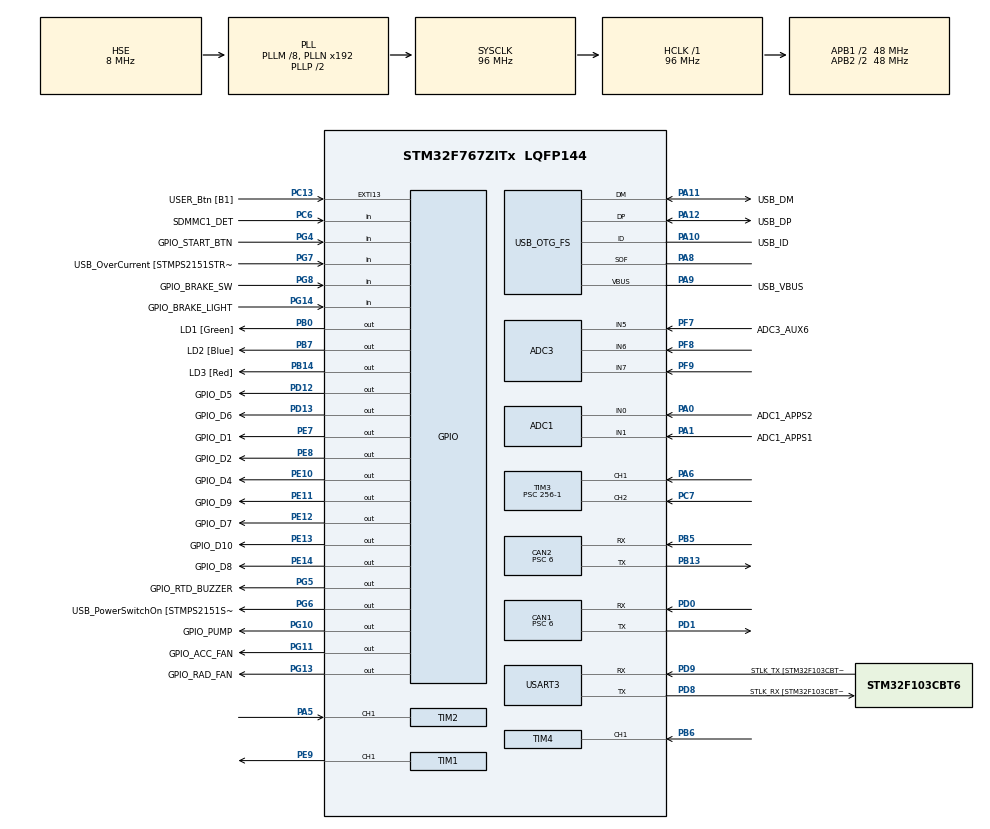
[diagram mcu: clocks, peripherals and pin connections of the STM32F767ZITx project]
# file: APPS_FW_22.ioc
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ADC1.Channel-4\#ChannelRegularConversion=ADC_CHANNEL_0
ADC1.Channel-5\#ChannelRegularConversion=ADC_CHANNEL_1
ADC1.ClockPrescaler=ADC_CLOCK_SYNC_PCLK_DIV4
ADC1.ContinuousConvMode=ENABLE
ADC1.DMAContinuousRequests=ENABLE
ADC1.DiscontinuousConvMode=DISABLE
ADC1.EOCSelection=ADC_EOC_SEQ_CONV
ADC1.EnableAnalogWatchDog=false
ADC1.ExternalTrigConv=ADC_SOFTWARE_START
ADC1.InjNumberOfConversion=0
ADC1.NbrOfConversion=2
ADC1.NbrOfConversionFlag=1
ADC1.Rank-4\#ChannelRegularConversion=1
ADC1.Rank-5\#ChannelRegularConversion=2
ADC1.SamplingTime-4\#ChannelRegularConversion=ADC_SAMPLETIME_144CYCLES
ADC1.SamplingTime-5\#ChannelRegularConversion=ADC_SAMPLETIME_144CYCLES
ADC1.ScanConvMode=ADC_SCAN_ENABLE
ADC1.master=1
ADC3.Channel-1\#ChannelRegularConversion=ADC_CHANNEL_5
ADC3.Channel-2\#ChannelRegularConversion=ADC_CHANNEL_6
ADC3.Channel-3\#ChannelRegularConversion=ADC_CHANNEL_7
ADC3.ClockPrescaler=ADC_CLOCK_SYNC_PCLK_DIV4
ADC3.ContinuousConvMode=ENABLE
ADC3.DMAContinuousRequests=ENABLE
ADC3.NbrOfConversion=3
ADC3.NbrOfConversionFlag=1
ADC3.Rank-1\#ChannelRegularConversion=1
ADC3.Rank-2\#ChannelRegularConversion=2
ADC3.Rank-3\#ChannelRegularConversion=3
ADC3.SamplingTime-1\#ChannelRegularConversion=ADC_SAMPLETIME_480CYCLES
ADC3.SamplingTime-2\#ChannelRegularConversion=ADC_SAMPLETIME_480CYCLES
ADC3.SamplingTime-3\#ChannelRegularConversion=ADC_SAMPLETIME_480CYCLES
ADC3.ScanConvMode=ADC_SCAN_ENABLE
CAN1.BS1=CAN_BS1_13TQ
CAN1.BS2=CAN_BS2_2TQ
CAN1.CalculateBaudRate=500000
CAN1.CalculateTimeBit=2000
CAN1.CalculateTimeQuantum=125.0
CAN1.Mode=CAN_MODE_NORMAL
CAN1.Prescaler=6
CAN1.SJW=CAN_SJW_1TQ
CAN2.ABOM=ENABLE
CAN2.BS1=CAN_BS1_13TQ
CAN2.BS2=CAN_BS2_2TQ
CAN2.CalculateBaudRate=500000
CAN2.CalculateTimeBit=2000
CAN2.CalculateTimeQuantum=125.0
CAN2.Mode=CAN_MODE_NORMAL
CAN2.NART=ENABLE
CAN2.Prescaler=6
Dma.ADC1.0.Direction=DMA_PERIPH_TO_MEMORY
Dma.ADC1.0.FIFOMode=DMA_FIFOMODE_DISABLE
Dma.ADC1.0.Instance=DMA2_Stream4
Dma.ADC1.0.MemDataAlignment=DMA_MDATAALIGN_HALFWORD
Dma.ADC1.0.MemInc=DMA_MINC_ENABLE
Dma.ADC1.0.Mode=DMA_CIRCULAR
Dma.ADC1.0.PeriphDataAlignment=DMA_PDATAALIGN_HALFWORD
Dma.ADC1.0.PeriphInc=DMA_PINC_DISABLE
Dma.ADC1.0.Priority=DMA_PRIORITY_LOW
Dma.ADC3.1.Direction=DMA_PERIPH_TO_MEMORY
Dma.ADC3.1.FIFOMode=DMA_FIFOMODE_DISABLE
Dma.ADC3.1.Instance=DMA2_Stream0
Dma.ADC3.1.MemDataAlignment=DMA_MDATAALIGN_HALFWORD
Dma.ADC3.1.MemInc=DMA_MINC_ENABLE
Dma.ADC3.1.Mode=DMA_CIRCULAR
Dma.ADC3.1.PeriphDataAlignment=DMA_PDATAALIGN_HALFWORD
Dma.ADC3.1.PeriphInc=DMA_PINC_DISABLE
Dma.ADC3.1.Priority=DMA_PRIORITY_LOW
Dma.Request0=ADC1
Dma.Request1=ADC3
FREERTOS.BinarySemaphores01=printSem,Static,printSemControlBlock
FREERTOS.Queues01=CANTX_Q,32,CANTXMsg,0,Static,CANTX_QBuffer,CANTX_QControlBlock;CANRX_Q,32,CANRXMsg,0,Static,CANRX_QBuffer,CANRX_QControlBlock
FREERTOS.Tasks01=defaultTask,24,128,StartDefaultTask,Default,NULL,Dynamic,NULL,NULL;CANTxTask,40,128,startCANTxTask,As external,NULL,Dynamic,NULL,NULL;APPSTask,41,256,startAPPSTask,As external,NULL,Dynamic,NULL,NULL;CANRxTask,40,128,startCANRxTask,As external,NULL,Dynamic,NULL,NULL;ControlTask,8,128,startControlTask,As external,NULL,Dynamic,NULL,NULL;CANTransmit,48,128,startCANTransmitTask,As external,NULL,Dynamic,NULL,NULL
FREERTOS.configENABLE_BACKWARD_COMPATIBILITY=0
FREERTOS.configENABLE_FPU=1
FREERTOS.configUSE_NEWLIB_REENTRANT=1
Mcu.Family=STM32F7
Mcu.Name=STM32F767ZITx
Mcu.Package=LQFP144
NVIC.CAN1_RX0_IRQn=true\:5\:0\:false\:false\:true\:true\:true\:true\:true
NVIC.CAN2_RX0_IRQn=true\:5\:0\:false\:false\:true\:true\:true\:true\:true
NVIC.DMA2_Stream0_IRQn=true\:5\:0\:false\:false\:true\:true\:false\:true\:true
NVIC.DMA2_Stream4_IRQn=true\:5\:0\:false\:false\:true\:false\:false\:true\:true
NVIC.PriorityGroup=NVIC_PRIORITYGROUP_4
NVIC.TIM2_IRQn=true\:5\:0\:false\:false\:true\:true\:true\:true\:true
NVIC.TIM3_IRQn=true\:5\:0\:false\:false\:true\:true\:true\:true\:true
NVIC.TIM4_IRQn=true\:5\:0\:false\:false\:true\:true\:true\:true\:true
NVIC.TIM8_UP_TIM13_IRQn=true\:15\:0\:false\:false\:true\:false\:false\:true\:true
NVIC.TimeBase=TIM8_UP_TIM13_IRQn
NVIC.TimeBaseIP=TIM8
PA0/WKUP.GPIO_Label=ADC1_APPS2
PA0/WKUP.Signal=ADCx_IN0
PA1.GPIO_Label=ADC1_APPS1
PA1.Signal=ADCx_IN1
PA10.GPIO_Label=USB_ID
PA10.Mode=OTG/Dual_Role_Device
PA10.Signal=USB_OTG_FS_ID
PA11.GPIO_Label=USB_DM
PA11.Mode=OTG/Dual_Role_Device
PA11.Signal=USB_OTG_FS_DM
PA12.GPIO_Label=USB_DP
PA12.Mode=OTG/Dual_Role_Device
PA12.Signal=USB_OTG_FS_DP
PA13.GPIO_Label=TMS
PA13.Mode=Serial_Wire
PA13.Signal=SYS_JTMS-SWDIO
PA14.GPIO_Label=TCK
PA14.Mode=Serial_Wire
PA14.Signal=SYS_JTCK-SWCLK
PA3.Signal=ADCx_IN3
PA5.Signal=S_TIM2_CH1_ETR
PA6.Signal=S_TIM3_CH1
PA8.Mode=Activate_SOF_FS
PA8.Signal=USB_OTG_FS_SOF
PA9.GPIO_Label=USB_VBUS
PA9.Mode=Activate_VBUS
PA9.Signal=USB_OTG_FS_VBUS
PB0.GPIO_Label=LD1 [Green]
PB0.Signal=GPIO_Output
PB13.Mode=CAN_Activate
PB13.Signal=CAN2_TX
PB14.GPIO_Label=LD3 [Red]
PB14.Signal=GPIO_Output
PB3.GPIO_Label=SWO
PB3.Signal=SYS_JTDO-SWO
PB5.GPIO_PuPd=GPIO_PULLUP
PB5.Mode=CAN_Activate
PB5.Signal=CAN2_RX
PB6.Signal=S_TIM4_CH1
PB7.GPIO_Label=LD2 [Blue]
PB7.Signal=GPIO_Output
PC0.GPIO_Mode=GPIO_MODE_ANALOG
PC0.GPIO_PuPd=GPIO_NOPULL
PC0.Signal=ADCx_IN10
PC1.GPIO_Label=ADC2_DMPR2
PC1.Signal=ADCx_IN11
PC13.GPIO_Label=USER_Btn [B1]
PC13.Signal=GPXTI13
PC14/OSC32_IN.Mode=LSE-External-Oscillator
PC14/OSC32_IN.Signal=RCC_OSC32_IN
PC15/OSC32_OUT.Mode=LSE-External-Oscillator
PC15/OSC32_OUT.Signal=RCC_OSC32_OUT
PC2.GPIO_Mode=GPIO_MODE_ANALOG
PC2.GPIO_PuPd=GPIO_NOPULL
PC2.Signal=ADCx_IN12
PC3.GPIO_Mode=GPIO_MODE_ANALOG
PC3.GPIO_PuPd=GPIO_NOPULL
PC3.Signal=ADCx_IN13
PC6.GPIO_Label=SDMMC1_DET
PC6.Signal=GPIO_Input
PC7.Signal=S_TIM3_CH2
PD0.GPIO_PuPd=GPIO_PULLUP
PD0.Mode=CAN_Activate
PD0.Signal=CAN1_RX
PD1.Mode=CAN_Activate
PD1.Signal=CAN1_TX
PD12.GPIO_Label=GPIO_D5
PD12.Signal=GPIO_Output
PD13.GPIO_Label=GPIO_D6
PD13.Signal=GPIO_Output
PD8.GPIO_Label=STLK_RX [STM32F103CBT6_PA3]
PD8.Mode=Asynchronous
PD8.Signal=USART3_TX
PD9.GPIO_Label=STLK_TX [STM32F103CBT6_PA2]
PD9.Mode=Asynchronous
PD9.Signal=USART3_RX
PE10.GPIO_Label=GPIO_D4
PE10.Signal=GPIO_Output
PE11.GPIO_Label=GPIO_D9
PE11.Signal=GPIO_Output
PE12.GPIO_Label=GPIO_D7
PE12.Signal=GPIO_Output
PE13.GPIO_Label=GPIO_D10
PE13.Signal=GPIO_Output
PE14.GPIO_Label=GPIO_D8
PE14.Signal=GPIO_Output
PE7.GPIO_Label=GPIO_D1
PE7.Signal=GPIO_Output
PE8.GPIO_Label=GPIO_D2
PE8.Signal=GPIO_Output
PE9.Signal=S_TIM1_CH1
PF4.GPIO_Label=ADC3_AUX4
PF4.Signal=ADC3_IN14
PF5.GPIO_Label=ADC3_AUX4
PF5.Signal=ADC3_IN15
PF6.GPIO_Label=ADC3_AUX5
PF6.Signal=ADC3_IN4
PF7.GPIO_Label=ADC3_AUX6
PF7.Mode=IN5
PF7.Signal=ADC3_IN5
PF8.Mode=IN6
PF8.Signal=ADC3_IN6
PF9.Mode=IN7
PF9.Signal=ADC3_IN7
PG10.GPIO_Label=GPIO_PUMP
PG10.Signal=GPIO_Output
PG11.GPIO_Label=GPIO_ACC_FAN
PG11.Signal=GPIO_Output
PG13.GPIO_Label=GPIO_RAD_FAN
PG13.Signal=GPIO_Output
PG14.GPIO_Label=GPIO_BRAKE_LIGHT
PG14.Signal=GPIO_Input
PG4.GPIO_Label=GPIO_START_BTN
PG4.Signal=GPIO_Input
PG5.GPIO_Label=GPIO_RTD_BUZZER
PG5.Signal=GPIO_Output
PG6.GPIO_Label=USB_PowerSwitchOn [STMPS2151STR_EN]
PG6.Signal=GPIO_Output
PG7.GPIO_Label=USB_OverCurrent [STMPS2151STR_FAULT]
PG7.Signal=GPIO_Input
PG8.GPIO_Label=GPIO_BRAKE_SW
PG8.Signal=GPIO_Input
PH0/OSC_IN.GPIO_Label=MCO [STM32F103CBT6_PA8]
PH0/OSC_IN.Mode=HSE-External-Oscillator
PH0/OSC_IN.Signal=RCC_OSC_IN
PH1/OSC_OUT.Mode=HSE-External-Oscillator
PH1/OSC_OUT.Signal=RCC_OSC_OUT
ProjectManager.HeapSize=0x200
ProjectManager.StackSize=0x400
ProjectManager.TargetToolchain=STM32CubeIDE
RCC.48MHZClocksFreq_Value=24000000
RCC.AHBFreq_Value=96000000
RCC.APB1CLKDivider=RCC_HCLK_DIV2
RCC.APB1Freq_Value=48000000
RCC.APB1TimFreq_Value=96000000
RCC.APB2CLKDivider=RCC_HCLK_DIV2
RCC.APB2Freq_Value=48000000
RCC.APB2TimFreq_Value=96000000
RCC.CortexFreq_Value=96000000
RCC.HCLKFreq_Value=96000000
RCC.HSE_Timout=3000
RCC.HSE_VALUE=8000000
RCC.HSI_VALUE=16000000
RCC.PLLM=8
RCC.PLLMUL=RCC_PLL_MUL9
RCC.PLLQ=4
RCC.PRESCALERUSB=RCC_USBCLKSOURCE_PLL_DIV1_5
RCC.PWR_Regulator_Voltage_Scale=PWR_REGULATOR_VOLTAGE_SCALE3
RCC.RTCClockSelection=RCC_RTCCLKSOURCE_LSE
RCC.SDMMCClockSelection=RCC_SDMMC1CLKSOURCE_CLK48
RCC.SYSCLKFreq_VALUE=96000000
RCC.SYSCLKSource=RCC_SYSCLKSOURCE_PLLCLK
RCC.SYSCLKSourceVirtual=RCC_SYSCLKSOURCE_PLLCLK
RCC.USBFreq_Value=48000000
RCC.VCOOutputFreq_Value=192000000
SH.ADCx_IN0.0=ADC1_IN0,IN0
SH.ADCx_IN1.0=ADC1_IN1,IN1
SH.ADCx_IN10.0=ADC2_IN10
SH.ADCx_IN11.0=ADC2_IN11
SH.ADCx_IN12.0=ADC2_IN12
SH.ADCx_IN13.0=ADC2_IN13
SH.ADCx_IN3.0=ADC3_IN3
SH.ADCx_IN3.1=ADC2_IN3
SH.S_TIM1_CH1.0=TIM1_CH1,PWM Generation1 CH1
SH.S_TIM2_CH1_ETR.0=TIM2_CH1,Input_Capture1_from_TI1
SH.S_TIM3_CH1.0=TIM3_CH1,Input_Capture1_from_TI1
SH.S_TIM3_CH2.0=TIM3_CH2,Input_Capture2_from_TI2
SH.S_TIM4_CH1.0=TIM4_CH1,Input_Capture1_from_TI1
TIM1.Channel-PWM\ Generation1\ CH1=TIM_CHANNEL_1
TIM1.Period=4000-1
TIM1.Prescaler=240-1
TIM2.Channel-Input_Capture1_from_TI1=TIM_CHANNEL_1
TIM2.Period=14184397
TIM2.Prescaler=1-1
TIM3.Channel-Input_Capture1_from_TI1=TIM_CHANNEL_1
TIM3.Channel-Input_Capture2_from_TI2=TIM_CHANNEL_2
TIM3.ClockDivision=TIM_CLOCKDIVISION_DIV1
TIM3.Period=55408
TIM3.Prescaler=256-1
TIM4.Channel-Input_Capture1_from_TI1=TIM_CHANNEL_1
TIM4.ClockDivision=TIM_CLOCKDIVISION_DIV1
TIM4.Period=55408
TIM4.Prescaler=256-1
USART3.VirtualMode-Asynchronous=VM_ASYNC
VP_FREERTOS_VS_CMSIS_V2.Mode=CMSIS_V2
VP_RTC_VS_RTC_Activate.Mode=RTC_Enabled
VP_SYS_VS_tim8.Mode=TIM8
VP_TIM1_VS_ClockSourceINT.Mode=Internal
VP_TIM2_VS_ClockSourceINT.Mode=Internal
VP_TIM3_VS_ClockSourceINT.Mode=Internal
VP_TIM4_VS_ClockSourceINT.Mode=Internal
board=NUCLEO-F767ZI

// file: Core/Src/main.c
/* USER CODE BEGIN Header */
/**
  ******************************************************************************
  * @file           : main.c
  * @brief          : Main program body
  ******************************************************************************
  * @attention
  *
  * Copyright (c) 2022 STMicroelectronics.
  * All rights reserved.
  *
  * This software is licensed under terms that can be found in the LICENSE file
  * in the root directory of this software component.
  * If no LICENSE file comes with this software, it is provided AS-IS.
  *
  ******************************************************************************
  */
/* USER CODE END Header */
#include "main.h"
#include "cmsis_os.h"

/* USER CODE BEGIN Includes */
#include "APPS.h"
#include "CAN.h"
#include "utils.h"
/* USER CODE END Includes */

typedef StaticQueue_t osStaticMessageQDef_t;
typedef StaticSemaphore_t osStaticSemaphoreDef_t;

ADC_HandleTypeDef hadc1;
ADC_HandleTypeDef hadc3;
DMA_HandleTypeDef hdma_adc1;
DMA_HandleTypeDef hdma_adc3;

CAN_HandleTypeDef hcan1;
CAN_HandleTypeDef hcan2;

RTC_HandleTypeDef hrtc;

TIM_HandleTypeDef htim1;
TIM_HandleTypeDef htim2;
TIM_HandleTypeDef htim3;
TIM_HandleTypeDef htim4;

UART_HandleTypeDef huart3;

/* Definitions for defaultTask */
osThreadId_t defaultTaskHandle;
const osThreadAttr_t defaultTask_attributes = {
  .name = "defaultTask",
  .stack_size = 128 * 4,
  .priority = (osPriority_t) osPriorityNormal,
};
/* Definitions for CANTxTask */
osThreadId_t CANTxTaskHandle;
const osThreadAttr_t CANTxTask_attributes = {
  .name = "CANTxTask",
  .stack_size = 128 * 4,
  .priority = (osPriority_t) osPriorityHigh,
};
/* Definitions for APPSTask */
osThreadId_t APPSTaskHandle;
const osThreadAttr_t APPSTask_attributes = {
  .name = "APPSTask",
  .stack_size = 256 * 4,
  .priority = (osPriority_t) osPriorityHigh1,
};
/* Definitions for CANRxTask */
osThreadId_t CANRxTaskHandle;
const osThreadAttr_t CANRxTask_attributes = {
  .name = "CANRxTask",
  .stack_size = 128 * 4,
  .priority = (osPriority_t) osPriorityHigh,
};
/* Definitions for ControlTask */
osThreadId_t ControlTaskHandle;
const osThreadAttr_t ControlTask_attributes = {
  .name = "ControlTask",
  .stack_size = 128 * 4,
  .priority = (osPriority_t) osPriorityLow,
};
/* Definitions for CANTransmit */
osThreadId_t CANTransmitHandle;
const osThreadAttr_t CANTransmit_attributes = {
  .name = "CANTransmit",
  .stack_size = 128 * 4,
  .priority = (osPriority_t) osPriorityRealtime,
};
/* Definitions for CANTX_Q */
osMessageQueueId_t CANTX_QHandle;
uint8_t CANTX_QBuffer[ 32 * sizeof( CANTXMsg ) ];
osStaticMessageQDef_t CANTX_QControlBlock;
const osMessageQueueAttr_t CANTX_Q_attributes = {
  .name = "CANTX_Q",
  .cb_mem = &CANTX_QControlBlock,
  .cb_size = sizeof(CANTX_QControlBlock),
  .mq_mem = &CANTX_QBuffer,
  .mq_size = sizeof(CANTX_QBuffer)
};
/* Definitions for CANRX_Q */
osMessageQueueId_t CANRX_QHandle;
uint8_t CANRX_QBuffer[ 32 * sizeof( CANRXMsg ) ];
osStaticMessageQDef_t CANRX_QControlBlock;
const osMessageQueueAttr_t CANRX_Q_attributes = {
  .name = "CANRX_Q",
  .cb_mem = &CANRX_QControlBlock,
  .cb_size = sizeof(CANRX_QControlBlock),
  .mq_mem = &CANRX_QBuffer,
  .mq_size = sizeof(CANRX_QBuffer)
};
/* Definitions for printSem */
osSemaphoreId_t printSemHandle;
osStaticSemaphoreDef_t printSemControlBlock;
const osSemaphoreAttr_t printSem_attributes = {
  .name = "printSem",
  .cb_mem = &printSemControlBlock,
  .cb_size = sizeof(printSemControlBlock),
};

void SystemClock_Config(void);
static void MX_GPIO_Init(void);
static void MX_DMA_Init(void);
static void MX_USB_OTG_FS_USB_Init(void);
static void MX_CAN1_Init(void);
static void MX_CAN2_Init(void);
static void MX_ADC1_Init(void);
static void MX_RTC_Init(void);
static void MX_USART3_UART_Init(void);
static void MX_TIM2_Init(void);
static void MX_TIM3_Init(void);
static void MX_TIM4_Init(void);
static void MX_ADC3_Init(void);
static void MX_TIM1_Init(void);
void StartDefaultTask(void *argument);
extern void startCANTxTask(void *argument);
extern void startAPPSTask(void *argument);
extern void startCANRxTask(void *argument);
extern void startControlTask(void *argument);
extern void startCANTransmitTask(void *argument);

int main(void)
{

  /* MCU Configuration--------------------------------------------------------*/

  /* Reset of all peripherals, Initializes the Flash interface and the Systick. */
  HAL_Init();

  /* Configure the system clock */
  SystemClock_Config();

  /* Initialize all configured peripherals */
  MX_GPIO_Init();
  MX_DMA_Init();
  MX_USB_OTG_FS_USB_Init();
  MX_CAN1_Init();
  MX_CAN2_Init();
  MX_ADC1_Init();
  MX_RTC_Init();
  MX_USART3_UART_Init();
  MX_TIM2_Init();
  MX_TIM3_Init();
  MX_TIM4_Init();
  MX_ADC3_Init();
  MX_TIM1_Init();

  /* Init scheduler */
  osKernelInitialize();

  /* Create the semaphores(s) */
  /* creation of printSem */
  printSemHandle = osSemaphoreNew(1, 0, &printSem_attributes);

  /* Create the queue(s) */
  /* creation of CANTX_Q */
  CANTX_QHandle = osMessageQueueNew (32, sizeof(CANTXMsg), &CANTX_Q_attributes);

  /* creation of CANRX_Q */
  CANRX_QHandle = osMessageQueueNew (32, sizeof(CANRXMsg), &CANRX_Q_attributes);

  /* Create the thread(s) */
  /* creation of defaultTask */
  defaultTaskHandle = osThreadNew(StartDefaultTask, NULL, &defaultTask_attributes);

  /* creation of CANTxTask */
  CANTxTaskHandle = osThreadNew(startCANTxTask, NULL, &CANTxTask_attributes);

  /* creation of APPSTask */
  APPSTaskHandle = osThreadNew(startAPPSTask, NULL, &APPSTask_attributes);

  /* creation of CANRxTask */
  CANRxTaskHandle = osThreadNew(startCANRxTask, NULL, &CANRxTask_attributes);

  /* creation of ControlTask */
  ControlTaskHandle = osThreadNew(startControlTask, NULL, &ControlTask_attributes);

  /* creation of CANTransmit */
  CANTransmitHandle = osThreadNew(startCANTransmitTask, NULL, &CANTransmit_attributes);

  /* USER CODE BEGIN RTOS_EVENTS */
  /* add events, ... */
  osSemaphoreRelease(printSemHandle);
  /* USER CODE END RTOS_EVENTS */

  /* Start scheduler */
  osKernelStart();

  /* We should never get here as control is now taken by the scheduler */

  /* Infinite loop */
  while (1)
  {

  }
}

void SystemClock_Config(void)
{
  RCC_OscInitTypeDef RCC_OscInitStruct = {0};
  RCC_ClkInitTypeDef RCC_ClkInitStruct = {0};

  /** Configure LSE Drive Capability
  */
  HAL_PWR_EnableBkUpAccess();
  __HAL_RCC_LSEDRIVE_CONFIG(RCC_LSEDRIVE_LOW);

  /** Configure the main internal regulator output voltage
  */
  __HAL_RCC_PWR_CLK_ENABLE();
  __HAL_PWR_VOLTAGESCALING_CONFIG(PWR_REGULATOR_VOLTAGE_SCALE3);

  /** Initializes the RCC Oscillators according to the specified parameters
  * in the RCC_OscInitTypeDef structure.
  */
  RCC_OscInitStruct.OscillatorType = RCC_OSCILLATORTYPE_HSE|RCC_OSCILLATORTYPE_LSE;
  RCC_OscInitStruct.HSEState = RCC_HSE_ON;
  RCC_OscInitStruct.LSEState = RCC_LSE_ON;
  RCC_OscInitStruct.PLL.PLLState = RCC_PLL_ON;
  RCC_OscInitStruct.PLL.PLLSource = RCC_PLLSOURCE_HSE;
  RCC_OscInitStruct.PLL.PLLM = 8;
  RCC_OscInitStruct.PLL.PLLN = 192;
  RCC_OscInitStruct.PLL.PLLP = RCC_PLLP_DIV2;
  RCC_OscInitStruct.PLL.PLLQ = 4;
  RCC_OscInitStruct.PLL.PLLR = 2;
  if (HAL_RCC_OscConfig(&RCC_OscInitStruct) != HAL_OK)
  {
    Error_Handler();
  }

  /** Activate the Over-Drive mode
  */
  if (HAL_PWREx_EnableOverDrive() != HAL_OK)
  {
    Error_Handler();
  }

  /** Initializes the CPU, AHB and APB buses clocks
  */
  RCC_ClkInitStruct.ClockType = RCC_CLOCKTYPE_HCLK|RCC_CLOCKTYPE_SYSCLK
                              |RCC_CLOCKTYPE_PCLK1|RCC_CLOCKTYPE_PCLK2;
  RCC_ClkInitStruct.SYSCLKSource = RCC_SYSCLKSOURCE_PLLCLK;
  RCC_ClkInitStruct.AHBCLKDivider = RCC_SYSCLK_DIV1;
  RCC_ClkInitStruct.APB1CLKDivider = RCC_HCLK_DIV2;
  RCC_ClkInitStruct.APB2CLKDivider = RCC_HCLK_DIV2;

  if (HAL_RCC_ClockConfig(&RCC_ClkInitStruct, FLASH_LATENCY_3) != HAL_OK)
  {
    Error_Handler();
  }
}

static void MX_ADC1_Init(void)
{

  ADC_ChannelConfTypeDef sConfig = {0};

  /** Configure the global features of the ADC (Clock, Resolution, Data Alignment and number of conversion)
  */
  hadc1.Instance = ADC1;
  hadc1.Init.ClockPrescaler = ADC_CLOCK_SYNC_PCLK_DIV4;
  hadc1.Init.Resolution = ADC_RESOLUTION_12B;
  hadc1.Init.ScanConvMode = ADC_SCAN_ENABLE;
  hadc1.Init.ContinuousConvMode = ENABLE;
  hadc1.Init.DiscontinuousConvMode = DISABLE;
  hadc1.Init.ExternalTrigConvEdge = ADC_EXTERNALTRIGCONVEDGE_NONE;
  hadc1.Init.ExternalTrigConv = ADC_SOFTWARE_START;
  hadc1.Init.DataAlign = ADC_DATAALIGN_RIGHT;
  hadc1.Init.NbrOfConversion = 2;
  hadc1.Init.DMAContinuousRequests = ENABLE;
  hadc1.Init.EOCSelection = ADC_EOC_SEQ_CONV;
  if (HAL_ADC_Init(&hadc1) != HAL_OK)
  {
    Error_Handler();
  }

  /** Configure for the selected ADC regular channel its corresponding rank in the sequencer and its sample time.
  */
  sConfig.Channel = ADC_CHANNEL_0;
  sConfig.Rank = ADC_REGULAR_RANK_1;
  sConfig.SamplingTime = ADC_SAMPLETIME_144CYCLES;
  if (HAL_ADC_ConfigChannel(&hadc1, &sConfig) != HAL_OK)
  {
    Error_Handler();
  }

  /** Configure for the selected ADC regular channel its corresponding rank in the sequencer and its sample time.
  */
  sConfig.Channel = ADC_CHANNEL_1;
  sConfig.Rank = ADC_REGULAR_RANK_2;
  if (HAL_ADC_ConfigChannel(&hadc1, &sConfig) != HAL_OK)
  {
    Error_Handler();
  }
  /* USER CODE BEGIN ADC1_Init 2 */
  if(HAL_ADC_Start_DMA(&hadc1, (uint32_t *)apps_dma_buffer, APPS_DMA_BUFFER_LEN) != HAL_OK){
	Error_Handler();
  }
  /* USER CODE END ADC1_Init 2 */

}

static void MX_ADC3_Init(void)
{

  ADC_ChannelConfTypeDef sConfig = {0};

  /** Configure the global features of the ADC (Clock, Resolution, Data Alignment and number of conversion)
  */
  hadc3.Instance = ADC3;
  hadc3.Init.ClockPrescaler = ADC_CLOCK_SYNC_PCLK_DIV4;
  hadc3.Init.Resolution = ADC_RESOLUTION_12B;
  hadc3.Init.ScanConvMode = ADC_SCAN_ENABLE;
  hadc3.Init.ContinuousConvMode = ENABLE;
  hadc3.Init.DiscontinuousConvMode = DISABLE;
  hadc3.Init.ExternalTrigConvEdge = ADC_EXTERNALTRIGCONVEDGE_NONE;
  hadc3.Init.ExternalTrigConv = ADC_SOFTWARE_START;
  hadc3.Init.DataAlign = ADC_DATAALIGN_RIGHT;
  hadc3.Init.NbrOfConversion = 3;
  hadc3.Init.DMAContinuousRequests = ENABLE;
  hadc3.Init.EOCSelection = ADC_EOC_SINGLE_CONV;
  if (HAL_ADC_Init(&hadc3) != HAL_OK)
  {
    Error_Handler();
  }

  /** Configure for the selected ADC regular channel its corresponding rank in the sequencer and its sample time.
  */
  sConfig.Channel = ADC_CHANNEL_5;
  sConfig.Rank = ADC_REGULAR_RANK_1;
  sConfig.SamplingTime = ADC_SAMPLETIME_480CYCLES;
  if (HAL_ADC_ConfigChannel(&hadc3, &sConfig) != HAL_OK)
  {
    Error_Handler();
  }

  /** Configure for the selected ADC regular channel its corresponding rank in the sequencer and its sample time.
  */
  sConfig.Channel = ADC_CHANNEL_6;
  sConfig.Rank = ADC_REGULAR_RANK_2;
  if (HAL_ADC_ConfigChannel(&hadc3, &sConfig) != HAL_OK)
  {
    Error_Handler();
  }

  /** Configure for the selected ADC regular channel its corresponding rank in the sequencer and its sample time.
  */
  sConfig.Channel = ADC_CHANNEL_7;
  sConfig.Rank = ADC_REGULAR_RANK_3;
  if (HAL_ADC_ConfigChannel(&hadc3, &sConfig) != HAL_OK)
  {
    Error_Handler();
  }
  /* USER CODE BEGIN ADC3_Init 2 */
  if(HAL_ADC_Start_DMA(&hadc3, (uint32_t *)adc_3_dma_buffer, ADC_CHANNEL_3_DMA_BUFFER_LEN) != HAL_OK){
	Error_Handler();
  }
  /* USER CODE END ADC3_Init 2 */

}

static void MX_CAN1_Init(void)
{

  hcan1.Instance = CAN1;
  hcan1.Init.Prescaler = 6;
  hcan1.Init.Mode = CAN_MODE_NORMAL;
  hcan1.Init.SyncJumpWidth = CAN_SJW_1TQ;
  hcan1.Init.TimeSeg1 = CAN_BS1_13TQ;
  hcan1.Init.TimeSeg2 = CAN_BS2_2TQ;
  hcan1.Init.TimeTriggeredMode = DISABLE;
  hcan1.Init.AutoBusOff = DISABLE;
  hcan1.Init.AutoWakeUp = DISABLE;
  hcan1.Init.AutoRetransmission = DISABLE;
  hcan1.Init.ReceiveFifoLocked = DISABLE;
  hcan1.Init.TransmitFifoPriority = DISABLE;
  if (HAL_CAN_Init(&hcan1) != HAL_OK)
  {
    Error_Handler();
  }

}

static void MX_CAN2_Init(void)
{

  hcan2.Instance = CAN2;
  hcan2.Init.Prescaler = 6;
  hcan2.Init.Mode = CAN_MODE_NORMAL;
  hcan2.Init.SyncJumpWidth = CAN_SJW_1TQ;
  hcan2.Init.TimeSeg1 = CAN_BS1_13TQ;
  hcan2.Init.TimeSeg2 = CAN_BS2_2TQ;
  hcan2.Init.TimeTriggeredMode = DISABLE;
  hcan2.Init.AutoBusOff = ENABLE;
  hcan2.Init.AutoWakeUp = DISABLE;
  hcan2.Init.AutoRetransmission = ENABLE;
  hcan2.Init.ReceiveFifoLocked = DISABLE;
  hcan2.Init.TransmitFifoPriority = DISABLE;
  if (HAL_CAN_Init(&hcan2) != HAL_OK)
  {
    Error_Handler();
  }
  /* USER CODE BEGIN CAN2_Init 2 */

  // Set up and configure CAN2 filter
  CAN_FilterTypeDef canfilterconfig;
  canfilterconfig.FilterActivation = CAN_FILTER_ENABLE;
  canfilterconfig.FilterBank = 10;  // anything between 0 to SlaveStartFilterBank
  canfilterconfig.FilterFIFOAssignment = CAN_RX_FIFO0;
  canfilterconfig.FilterIdHigh = 0x0000;
  canfilterconfig.FilterIdLow = 0x0000;
  canfilterconfig.FilterMaskIdHigh = 0x0000;
  canfilterconfig.FilterMaskIdLow = 0x0000;
  canfilterconfig.FilterMode = CAN_FILTERMODE_IDMASK;
  canfilterconfig.FilterScale = CAN_FILTERSCALE_32BIT;
  canfilterconfig.SlaveStartFilterBank = 0;  // 13 to 27 are assigned to slave CAN (CAN 2) OR 0 to 12 are assgned to CAN1
  HAL_CAN_ConfigFilter(&hcan2, &canfilterconfig);

  // Activate Notifications and start up CAN interface...
  HAL_CAN_Start(&hcan2);
  HAL_CAN_ActivateNotification(&hcan2, CAN_IT_RX_FIFO0_MSG_PENDING);

  /* USER CODE END CAN2_Init 2 */

}

static void MX_RTC_Init(void)
{

  /** Initialize RTC Only
  */
  hrtc.Instance = RTC;
  hrtc.Init.HourFormat = RTC_HOURFORMAT_24;
  hrtc.Init.AsynchPrediv = 127;
  hrtc.Init.SynchPrediv = 255;
  hrtc.Init.OutPut = RTC_OUTPUT_DISABLE;
  hrtc.Init.OutPutPolarity = RTC_OUTPUT_POLARITY_HIGH;
  hrtc.Init.OutPutType = RTC_OUTPUT_TYPE_OPENDRAIN;
  if (HAL_RTC_Init(&hrtc) != HAL_OK)
  {
    Error_Handler();
  }

}

static void MX_TIM1_Init(void)
{

  TIM_ClockConfigTypeDef sClockSourceConfig = {0};
  TIM_MasterConfigTypeDef sMasterConfig = {0};
  TIM_OC_InitTypeDef sConfigOC = {0};
  TIM_BreakDeadTimeConfigTypeDef sBreakDeadTimeConfig = {0};

  htim1.Instance = TIM1;
  htim1.Init.Prescaler = 240-1;
  htim1.Init.CounterMode = TIM_COUNTERMODE_UP;
  htim1.Init.Period = 4000-1;
  htim1.Init.ClockDivision = TIM_CLOCKDIVISION_DIV1;
  htim1.Init.RepetitionCounter = 0;
  htim1.Init.AutoReloadPreload = TIM_AUTORELOAD_PRELOAD_DISABLE;
  if (HAL_TIM_Base_Init(&htim1) != HAL_OK)
  {
    Error_Handler();
  }
  sClockSourceConfig.ClockSource = TIM_CLOCKSOURCE_INTERNAL;
  if (HAL_TIM_ConfigClockSource(&htim1, &sClockSourceConfig) != HAL_OK)
  {
    Error_Handler();
  }
  if (HAL_TIM_PWM_Init(&htim1) != HAL_OK)
  {
    Error_Handler();
  }
  sMasterConfig.MasterOutputTrigger = TIM_TRGO_RESET;
  sMasterConfig.MasterOutputTrigger2 = TIM_TRGO2_RESET;
  sMasterConfig.MasterSlaveMode = TIM_MASTERSLAVEMODE_DISABLE;
  if (HAL_TIMEx_MasterConfigSynchronization(&htim1, &sMasterConfig) != HAL_OK)
  {
    Error_Handler();
  }
  sConfigOC.OCMode = TIM_OCMODE_PWM1;
  sConfigOC.Pulse = 0;
  sConfigOC.OCPolarity = TIM_OCPOLARITY_HIGH;
  sConfigOC.OCNPolarity = TIM_OCNPOLARITY_HIGH;
  sConfigOC.OCFastMode = TIM_OCFAST_DISABLE;
  sConfigOC.OCIdleState = TIM_OCIDLESTATE_RESET;
  sConfigOC.OCNIdleState = TIM_OCNIDLESTATE_RESET;
  if (HAL_TIM_PWM_ConfigChannel(&htim1, &sConfigOC, TIM_CHANNEL_1) != HAL_OK)
  {
    Error_Handler();
  }
  sBreakDeadTimeConfig.OffStateRunMode = TIM_OSSR_DISABLE;
  sBreakDeadTimeConfig.OffStateIDLEMode = TIM_OSSI_DISABLE;
  sBreakDeadTimeConfig.LockLevel = TIM_LOCKLEVEL_OFF;
  sBreakDeadTimeConfig.DeadTime = 0;
  sBreakDeadTimeConfig.BreakState = TIM_BREAK_DISABLE;
  sBreakDeadTimeConfig.BreakPolarity = TIM_BREAKPOLARITY_HIGH;
  sBreakDeadTimeConfig.BreakFilter = 0;
  sBreakDeadTimeConfig.Break2State = TIM_BREAK2_DISABLE;
  sBreakDeadTimeConfig.Break2Polarity = TIM_BREAK2POLARITY_HIGH;
  sBreakDeadTimeConfig.Break2Filter = 0;
  sBreakDeadTimeConfig.AutomaticOutput = TIM_AUTOMATICOUTPUT_DISABLE;
  if (HAL_TIMEx_ConfigBreakDeadTime(&htim1, &sBreakDeadTimeConfig) != HAL_OK)
  {
    Error_Handler();
  }
  HAL_TIM_MspPostInit(&htim1);

}

static void MX_TIM2_Init(void)
{

  TIM_ClockConfigTypeDef sClockSourceConfig = {0};
  TIM_MasterConfigTypeDef sMasterConfig = {0};
  TIM_IC_InitTypeDef sConfigIC = {0};

  htim2.Instance = TIM2;
  htim2.Init.Prescaler = 1-1;
  htim2.Init.CounterMode = TIM_COUNTERMODE_UP;
  htim2.Init.Period = 14184397;
  htim2.Init.ClockDivision = TIM_CLOCKDIVISION_DIV1;
  htim2.Init.AutoReloadPreload = TIM_AUTORELOAD_PRELOAD_DISABLE;
  if (HAL_TIM_Base_Init(&htim2) != HAL_OK)
  {
    Error_Handler();
  }
  sClockSourceConfig.ClockSource = TIM_CLOCKSOURCE_INTERNAL;
  if (HAL_TIM_ConfigClockSource(&htim2, &sClockSourceConfig) != HAL_OK)
  {
    Error_Handler();
  }
  if (HAL_TIM_IC_Init(&htim2) != HAL_OK)
  {
    Error_Handler();
  }
  sMasterConfig.MasterOutputTrigger = TIM_TRGO_RESET;
  sMasterConfig.MasterSlaveMode = TIM_MASTERSLAVEMODE_DISABLE;
  if (HAL_TIMEx_MasterConfigSynchronization(&htim2, &sMasterConfig) != HAL_OK)
  {
    Error_Handler();
  }
  sConfigIC.ICPolarity = TIM_INPUTCHANNELPOLARITY_RISING;
  sConfigIC.ICSelection = TIM_ICSELECTION_DIRECTTI;
  sConfigIC.ICPrescaler = TIM_ICPSC_DIV1;
  sConfigIC.ICFilter = 0;
  if (HAL_TIM_IC_ConfigChannel(&htim2, &sConfigIC, TIM_CHANNEL_1) != HAL_OK)
  {
    Error_Handler();
  }
  /* USER CODE BEGIN TIM2_Init 2 */

  HAL_TIM_Base_Start_IT(&htim2);
  HAL_TIM_IC_Start_IT(&htim2, TIM_CHANNEL_1);
  /* USER CODE END TIM2_Init 2 */

}

static void MX_TIM3_Init(void)
{

  TIM_ClockConfigTypeDef sClockSourceConfig = {0};
  TIM_MasterConfigTypeDef sMasterConfig = {0};
  TIM_IC_InitTypeDef sConfigIC = {0};

  htim3.Instance = TIM3;
  htim3.Init.Prescaler = 256-1;
  htim3.Init.CounterMode = TIM_COUNTERMODE_UP;
  htim3.Init.Period = 55408;
  htim3.Init.ClockDivision = TIM_CLOCKDIVISION_DIV1;
  htim3.Init.AutoReloadPreload = TIM_AUTORELOAD_PRELOAD_DISABLE;
  if (HAL_TIM_Base_Init(&htim3) != HAL_OK)
  {
    Error_Handler();
  }
  sClockSourceConfig.ClockSource = TIM_CLOCKSOURCE_INTERNAL;
  if (HAL_TIM_ConfigClockSource(&htim3, &sClockSourceConfig) != HAL_OK)
  {
    Error_Handler();
  }
  if (HAL_TIM_IC_Init(&htim3) != HAL_OK)
  {
    Error_Handler();
  }
  sMasterConfig.MasterOutputTrigger = TIM_TRGO_RESET;
  sMasterConfig.MasterSlaveMode = TIM_MASTERSLAVEMODE_DISABLE;
  if (HAL_TIMEx_MasterConfigSynchronization(&htim3, &sMasterConfig) != HAL_OK)
  {
    Error_Handler();
  }
  sConfigIC.ICPolarity = TIM_INPUTCHANNELPOLARITY_RISING;
  sConfigIC.ICSelection = TIM_ICSELECTION_DIRECTTI;
  sConfigIC.ICPrescaler = TIM_ICPSC_DIV1;
  sConfigIC.ICFilter = 0;
  if (HAL_TIM_IC_ConfigChannel(&htim3, &sConfigIC, TIM_CHANNEL_1) != HAL_OK)
  {
    Error_Handler();
  }
  if (HAL_TIM_IC_ConfigChannel(&htim3, &sConfigIC, TIM_CHANNEL_2) != HAL_OK)
  {
    Error_Handler();
  }
  /* USER CODE BEGIN TIM3_Init 2 */
  HAL_TIM_Base_Start_IT(&htim3);
  HAL_TIM_IC_Start_IT(&htim3, TIM_CHANNEL_1);
  HAL_TIM_IC_Start_IT(&htim3, TIM_CHANNEL_2);
  /* USER CODE END TIM3_Init 2 */

}

static void MX_TIM4_Init(void)
{

  TIM_ClockConfigTypeDef sClockSourceConfig = {0};
  TIM_MasterConfigTypeDef sMasterConfig = {0};
  TIM_IC_InitTypeDef sConfigIC = {0};

  htim4.Instance = TIM4;
  htim4.Init.Prescaler = 256-1;
  htim4.Init.CounterMode = TIM_COUNTERMODE_UP;
  htim4.Init.Period = 55408;
  htim4.Init.ClockDivision = TIM_CLOCKDIVISION_DIV1;
  htim4.Init.AutoReloadPreload = TIM_AUTORELOAD_PRELOAD_DISABLE;
  if (HAL_TIM_Base_Init(&htim4) != HAL_OK)
  {
    Error_Handler();
  }
  sClockSourceConfig.ClockSource = TIM_CLOCKSOURCE_INTERNAL;
  if (HAL_TIM_ConfigClockSource(&htim4, &sClockSourceConfig) != HAL_OK)
  {
    Error_Handler();
  }
  if (HAL_TIM_IC_Init(&htim4) != HAL_OK)
  {
    Error_Handler();
  }
  sMasterConfig.MasterOutputTrigger = TIM_TRGO_RESET;
  sMasterConfig.MasterSlaveMode = TIM_MASTERSLAVEMODE_DISABLE;
  if (HAL_TIMEx_MasterConfigSynchronization(&htim4, &sMasterConfig) != HAL_OK)
  {
    Error_Handler();
  }
  sConfigIC.ICPolarity = TIM_INPUTCHANNELPOLARITY_RISING;
  sConfigIC.ICSelection = TIM_ICSELECTION_DIRECTTI;
  sConfigIC.ICPrescaler = TIM_ICPSC_DIV1;
  sConfigIC.ICFilter = 0;
  if (HAL_TIM_IC_ConfigChannel(&htim4, &sConfigIC, TIM_CHANNEL_1) != HAL_OK)
  {
    Error_Handler();
  }
  /* USER CODE BEGIN TIM4_Init 2 */
  HAL_TIM_Base_Start_IT(&htim4);
  HAL_TIM_IC_Start_IT(&htim4, TIM_CHANNEL_1);

  /* USER CODE END TIM4_Init 2 */

}

static void MX_USART3_UART_Init(void)
{

  huart3.Instance = USART3;
  huart3.Init.BaudRate = 115200;
  huart3.Init.WordLength = UART_WORDLENGTH_8B;
  huart3.Init.StopBits = UART_STOPBITS_1;
  huart3.Init.Parity = UART_PARITY_NONE;
  huart3.Init.Mode = UART_MODE_TX_RX;
  huart3.Init.HwFlowCtl = UART_HWCONTROL_NONE;
  huart3.Init.OverSampling = UART_OVERSAMPLING_16;
  huart3.Init.OneBitSampling = UART_ONE_BIT_SAMPLE_DISABLE;
  huart3.AdvancedInit.AdvFeatureInit = UART_ADVFEATURE_NO_INIT;
  if (HAL_UART_Init(&huart3) != HAL_OK)
  {
    Error_Handler();
  }

}

static void MX_USB_OTG_FS_USB_Init(void)
{

}

static void MX_DMA_Init(void)
{

  /* DMA controller clock enable */
  __HAL_RCC_DMA2_CLK_ENABLE();

  /* DMA interrupt init */
  /* DMA2_Stream0_IRQn interrupt configuration */
  HAL_NVIC_SetPriority(DMA2_Stream0_IRQn, 5, 0);
  HAL_NVIC_EnableIRQ(DMA2_Stream0_IRQn);
  /* DMA2_Stream4_IRQn interrupt configuration */
  HAL_NVIC_SetPriority(DMA2_Stream4_IRQn, 5, 0);
  HAL_NVIC_EnableIRQ(DMA2_Stream4_IRQn);

}

static void MX_GPIO_Init(void)
{
  GPIO_InitTypeDef GPIO_InitStruct = {0};

  /* GPIO Ports Clock Enable */
  __HAL_RCC_GPIOC_CLK_ENABLE();
  __HAL_RCC_GPIOF_CLK_ENABLE();
  __HAL_RCC_GPIOH_CLK_ENABLE();
  __HAL_RCC_GPIOA_CLK_ENABLE();
  __HAL_RCC_GPIOB_CLK_ENABLE();
  __HAL_RCC_GPIOE_CLK_ENABLE();
  __HAL_RCC_GPIOD_CLK_ENABLE();
  __HAL_RCC_GPIOG_CLK_ENABLE();

  /*Configure GPIO pin Output Level */
  HAL_GPIO_WritePin(GPIOB, LD1_Pin|LD3_Pin|LD2_Pin, GPIO_PIN_RESET);

  /*Configure GPIO pin Output Level */
  HAL_GPIO_WritePin(GPIOE, GPIO_D1_Pin|GPIO_D2_Pin|GPIO_D4_Pin|GPIO_D9_Pin
                          |GPIO_D7_Pin|GPIO_D10_Pin|GPIO_D8_Pin, GPIO_PIN_RESET);

  /*Configure GPIO pin Output Level */
  HAL_GPIO_WritePin(GPIOD, GPIO_D5_Pin|GPIO_D6_Pin, GPIO_PIN_RESET);

  /*Configure GPIO pin Output Level */
  HAL_GPIO_WritePin(GPIOG, GPIO_RTD_BUZZER_Pin|USB_PowerSwitchOn_Pin|GPIO_PUMP_Pin|GPIO_ACC_FAN_Pin
                          |GPIO_RAD_FAN_Pin, GPIO_PIN_RESET);

  /*Configure GPIO pin : USER_Btn_Pin */
  GPIO_InitStruct.Pin = USER_Btn_Pin;
  GPIO_InitStruct.Mode = GPIO_MODE_IT_RISING;
  GPIO_InitStruct.Pull = GPIO_NOPULL;
  HAL_GPIO_Init(USER_Btn_GPIO_Port, &GPIO_InitStruct);

  /*Configure GPIO pins : PC0 ADC2_DMPR2_Pin PC2 PC3 */
  GPIO_InitStruct.Pin = GPIO_PIN_0|ADC2_DMPR2_Pin|GPIO_PIN_2|GPIO_PIN_3;
  GPIO_InitStruct.Mode = GPIO_MODE_ANALOG;
  GPIO_InitStruct.Pull = GPIO_NOPULL;
  HAL_GPIO_Init(GPIOC, &GPIO_InitStruct);

  /*Configure GPIO pin : PA3 */
  GPIO_InitStruct.Pin = GPIO_PIN_3;
  GPIO_InitStruct.Mode = GPIO_MODE_ANALOG;
  GPIO_InitStruct.Pull = GPIO_NOPULL;
  HAL_GPIO_Init(GPIOA, &GPIO_InitStruct);

  /*Configure GPIO pins : LD1_Pin LD3_Pin LD2_Pin */
  GPIO_InitStruct.Pin = LD1_Pin|LD3_Pin|LD2_Pin;
  GPIO_InitStruct.Mode = GPIO_MODE_OUTPUT_PP;
  GPIO_InitStruct.Pull = GPIO_NOPULL;
  GPIO_InitStruct.Speed = GPIO_SPEED_FREQ_LOW;
  HAL_GPIO_Init(GPIOB, &GPIO_InitStruct);

  /*Configure GPIO pins : GPIO_D1_Pin GPIO_D2_Pin GPIO_D4_Pin GPIO_D9_Pin
                           GPIO_D7_Pin GPIO_D10_Pin GPIO_D8_Pin */
  GPIO_InitStruct.Pin = GPIO_D1_Pin|GPIO_D2_Pin|GPIO_D4_Pin|GPIO_D9_Pin
                          |GPIO_D7_Pin|GPIO_D10_Pin|GPIO_D8_Pin;
  GPIO_InitStruct.Mode = GPIO_MODE_OUTPUT_PP;
  GPIO_InitStruct.Pull = GPIO_NOPULL;
  GPIO_InitStruct.Speed = GPIO_SPEED_FREQ_LOW;
  HAL_GPIO_Init(GPIOE, &GPIO_InitStruct);

  /*Configure GPIO pins : GPIO_D5_Pin GPIO_D6_Pin */
  GPIO_InitStruct.Pin = GPIO_D5_Pin|GPIO_D6_Pin;
  GPIO_InitStruct.Mode = GPIO_MODE_OUTPUT_PP;
  GPIO_InitStruct.Pull = GPIO_NOPULL;
  GPIO_InitStruct.Speed = GPIO_SPEED_FREQ_LOW;
  HAL_GPIO_Init(GPIOD, &GPIO_InitStruct);

  /*Configure GPIO pins : GPIO_START_BTN_Pin USB_OverCurrent_Pin GPIO_BRAKE_SW_Pin GPIO_BRAKE_LIGHT_Pin */
  GPIO_InitStruct.Pin = GPIO_START_BTN_Pin|USB_OverCurrent_Pin|GPIO_BRAKE_SW_Pin|GPIO_BRAKE_LIGHT_Pin;
  GPIO_InitStruct.Mode = GPIO_MODE_INPUT;
  GPIO_InitStruct.Pull = GPIO_NOPULL;
  HAL_GPIO_Init(GPIOG, &GPIO_InitStruct);

  /*Configure GPIO pins : GPIO_RTD_BUZZER_Pin USB_PowerSwitchOn_Pin GPIO_PUMP_Pin GPIO_ACC_FAN_Pin
                           GPIO_RAD_FAN_Pin */
  GPIO_InitStruct.Pin = GPIO_RTD_BUZZER_Pin|USB_PowerSwitchOn_Pin|GPIO_PUMP_Pin|GPIO_ACC_FAN_Pin
                          |GPIO_RAD_FAN_Pin;
  GPIO_InitStruct.Mode = GPIO_MODE_OUTPUT_PP;
  GPIO_InitStruct.Pull = GPIO_NOPULL;
  GPIO_InitStruct.Speed = GPIO_SPEED_FREQ_LOW;
  HAL_GPIO_Init(GPIOG, &GPIO_InitStruct);

  /*Configure GPIO pin : SDMMC1_DET_Pin */
  GPIO_InitStruct.Pin = SDMMC1_DET_Pin;
  GPIO_InitStruct.Mode = GPIO_MODE_INPUT;
  GPIO_InitStruct.Pull = GPIO_NOPULL;
  HAL_GPIO_Init(SDMMC1_DET_GPIO_Port, &GPIO_InitStruct);

  /*Configure GPIO pins : PA8 USB_ID_Pin USB_DM_Pin USB_DP_Pin */
  GPIO_InitStruct.Pin = GPIO_PIN_8|USB_ID_Pin|USB_DM_Pin|USB_DP_Pin;
  GPIO_InitStruct.Mode = GPIO_MODE_AF_PP;
  GPIO_InitStruct.Pull = GPIO_NOPULL;
  GPIO_InitStruct.Speed = GPIO_SPEED_FREQ_VERY_HIGH;
  GPIO_InitStruct.Alternate = GPIO_AF10_OTG_FS;
  HAL_GPIO_Init(GPIOA, &GPIO_InitStruct);

  /*Configure GPIO pin : USB_VBUS_Pin */
  GPIO_InitStruct.Pin = USB_VBUS_Pin;
  GPIO_InitStruct.Mode = GPIO_MODE_INPUT;
  GPIO_InitStruct.Pull = GPIO_NOPULL;
  HAL_GPIO_Init(USB_VBUS_GPIO_Port, &GPIO_InitStruct);

}

void StartDefaultTask(void *argument)
{
  for(;;)
  {
    osDelay(1);
  }
}

void HAL_TIM_PeriodElapsedCallback(TIM_HandleTypeDef *htim)
{
  if (htim->Instance == TIM8) {
    HAL_IncTick();
  }
}

void Error_Handler(void)
{
  __disable_irq();
  while (1)
  {
  }
}
